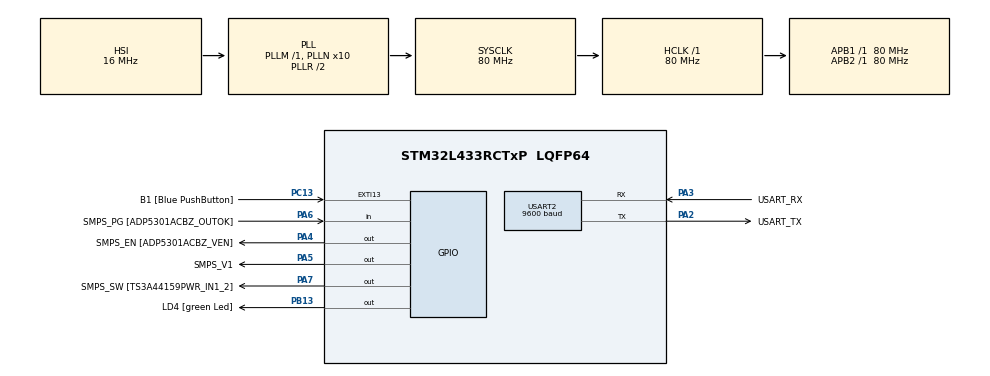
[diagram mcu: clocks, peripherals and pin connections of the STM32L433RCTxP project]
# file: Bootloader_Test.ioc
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Mcu.Family=STM32L4
Mcu.Name=STM32L433RCTxP
Mcu.Package=LQFP64
NVIC.PriorityGroup=NVIC_PRIORITYGROUP_4
PA13\ (JTMS-SWDIO).GPIO_Label=TMS
PA13\ (JTMS-SWDIO).Mode=Serial_Wire
PA13\ (JTMS-SWDIO).Signal=SYS_JTMS-SWDIO
PA14\ (JTCK-SWCLK).GPIO_Label=TCK
PA14\ (JTCK-SWCLK).Mode=Serial_Wire
PA14\ (JTCK-SWCLK).Signal=SYS_JTCK-SWCLK
PA2.GPIO_Label=USART_TX
PA2.GPIO_Mode=GPIO_MODE_AF_PP
PA2.GPIO_PuPd=GPIO_NOPULL
PA2.GPIO_Speed=GPIO_SPEED_FREQ_VERY_HIGH
PA2.Mode=Asynchronous
PA2.Signal=USART2_TX
PA3.GPIO_Label=USART_RX
PA3.GPIO_Mode=GPIO_MODE_AF_PP
PA3.GPIO_PuPd=GPIO_NOPULL
PA3.GPIO_Speed=GPIO_SPEED_FREQ_VERY_HIGH
PA3.Mode=Asynchronous
PA3.Signal=USART2_RX
PA4.GPIO_Label=SMPS_EN [ADP5301ACBZ_VEN]
PA4.Signal=GPIO_Output
PA5.GPIO_Label=SMPS_V1
PA5.GPIO_ModeDefaultOutputPP=GPIO_MODE_OUTPUT_PP
PA5.GPIO_PuPd=GPIO_NOPULL
PA5.GPIO_Speed=GPIO_SPEED_FREQ_LOW
PA5.Signal=GPIO_Output
PA6.GPIO_Label=SMPS_PG [ADP5301ACBZ_OUTOK]
PA6.GPIO_PuPd=GPIO_PULLUP
PA6.Signal=GPIO_Input
PA7.GPIO_Label=SMPS_SW [TS3A44159PWR_IN1_2]
PA7.Signal=GPIO_Output
PB13.GPIO_Label=LD4 [green Led]
PB13.Signal=GPIO_Output
PB3\ (JTDO-TRACESWO).GPIO_Label=SWO
PB3\ (JTDO-TRACESWO).Signal=SYS_JTDO-SWO
PC13.GPIO_Label=B1 [Blue PushButton]
PC13.GPIO_ModeDefaultEXTI=GPIO_MODE_IT_FALLING
PC13.GPIO_PuPd=GPIO_NOPULL
PC13.Signal=GPXTI13
PC14-OSC32_IN\ (PC14).Mode=LSE-External-Oscillator
PC14-OSC32_IN\ (PC14).Signal=RCC_OSC32_IN
PC15-OSC32_OUT\ (PC15).Mode=LSE-External-Oscillator
PC15-OSC32_OUT\ (PC15).Signal=RCC_OSC32_OUT
PH0-OSC_IN\ (PH0).GPIO_Label=MCO
PH0-OSC_IN\ (PH0).Mode=HSE-External-Clock-Source
PH0-OSC_IN\ (PH0).Signal=RCC_OSC_IN
PH1-OSC_OUT\ (PH1).Signal=RCC_OSC_OUT
ProjectManager.HeapSize=0x200
ProjectManager.StackSize=0x400
ProjectManager.TargetToolchain=STM32CubeIDE
RCC.ADCFreq_Value=64000000
RCC.AHBFreq_Value=80000000
RCC.APB1Freq_Value=80000000
RCC.APB1TimFreq_Value=80000000
RCC.APB2Freq_Value=80000000
RCC.APB2TimFreq_Value=80000000
RCC.CortexFreq_Value=80000000
RCC.HCLKFreq_Value=80000000
RCC.HSE_VALUE=8000000
RCC.HSI48_VALUE=48000000
RCC.HSI_VALUE=16000000
RCC.MSI_VALUE=4000000
RCC.PLLN=10
RCC.PLLSourceVirtual=RCC_PLLSOURCE_HSI
RCC.PREFETCH_ENABLE=1
RCC.SYSCLKFreq_VALUE=80000000
RCC.SYSCLKSource=RCC_SYSCLKSOURCE_PLLCLK
RCC.USBFreq_Value=64000000
RCC.VCOOutputFreq_Value=160000000
USART2.BaudRate=9600
USART2.VirtualMode-Asynchronous=VM_ASYNC
board=NUCLEO-L433RC-P

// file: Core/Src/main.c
/* USER CODE BEGIN Header */
/**
  ******************************************************************************
  * @file           : main.c
  * @brief          : Main program body
  ******************************************************************************
  * @attention
  *
  * Copyright (c) 2025 STMicroelectronics.
  * All rights reserved.
  *
  * This software is licensed under terms that can be found in the LICENSE file
  * in the root directory of this software component.
  * If no LICENSE file comes with this software, it is provided AS-IS.
  *
  ******************************************************************************
  */
/* USER CODE END Header */
#include "main.h"

/* USER CODE BEGIN Includes */
#include <stdio.h>

/* USER CODE END Includes */

/* USER CODE BEGIN PM */
#define MAJOR 0
#define MINOR 1

/* USER CODE END PM */

UART_HandleTypeDef huart2;

/* USER CODE BEGIN PV */
const uint8_t BL_version[2] = {MAJOR, MINOR};

/* USER CODE END PV */

void SystemClock_Config(void);
static void MX_GPIO_Init(void);
static void MX_USART2_UART_Init(void);
/* USER CODE BEGIN PFP */
static void goto_application(void);
/* USER CODE END PFP */

int main(void)
{

  /* MCU Configuration--------------------------------------------------------*/

  /* Reset of all peripherals, Initializes the Flash interface and the Systick. */
  HAL_Init();

  /* Configure the system clock */
  SystemClock_Config();

  /* Initialize all configured peripherals */
  MX_GPIO_Init();
  MX_USART2_UART_Init();
  /* USER CODE BEGIN 2 */
  printf("Starting Bootloader (%d.%d)\n", BL_version[0], BL_version[1]);
  HAL_GPIO_WritePin(GPIOB, GPIO_PIN_13, GPIO_PIN_SET);
  printf("After LED Toggle (%d.%d)\n", BL_version[0], BL_version[1]);
  HAL_Delay(5000);
  HAL_GPIO_WritePin(GPIOB, GPIO_PIN_13, GPIO_PIN_RESET);
  printf("After delay (%d.%d)\n", BL_version[0], BL_version[1]);
  HAL_Delay(1000);

  goto_application();
  /* USER CODE END 2 */

  /* Infinite loop */
  while (1)
  {

  }
}

void SystemClock_Config(void)
{
  RCC_OscInitTypeDef RCC_OscInitStruct = {0};
  RCC_ClkInitTypeDef RCC_ClkInitStruct = {0};

  /** Configure the main internal regulator output voltage
  */
  if (HAL_PWREx_ControlVoltageScaling(PWR_REGULATOR_VOLTAGE_SCALE1) != HAL_OK)
  {
    Error_Handler();
  }

  /** Initializes the RCC Oscillators according to the specified parameters
  * in the RCC_OscInitTypeDef structure.
  */
  RCC_OscInitStruct.OscillatorType = RCC_OSCILLATORTYPE_HSI;
  RCC_OscInitStruct.HSIState = RCC_HSI_ON;
  RCC_OscInitStruct.HSICalibrationValue = RCC_HSICALIBRATION_DEFAULT;
  RCC_OscInitStruct.PLL.PLLState = RCC_PLL_ON;
  RCC_OscInitStruct.PLL.PLLSource = RCC_PLLSOURCE_HSI;
  RCC_OscInitStruct.PLL.PLLM = 1;
  RCC_OscInitStruct.PLL.PLLN = 10;
  RCC_OscInitStruct.PLL.PLLP = RCC_PLLP_DIV7;
  RCC_OscInitStruct.PLL.PLLQ = RCC_PLLQ_DIV2;
  RCC_OscInitStruct.PLL.PLLR = RCC_PLLR_DIV2;
  if (HAL_RCC_OscConfig(&RCC_OscInitStruct) != HAL_OK)
  {
    Error_Handler();
  }

  /** Initializes the CPU, AHB and APB buses clocks
  */
  RCC_ClkInitStruct.ClockType = RCC_CLOCKTYPE_HCLK|RCC_CLOCKTYPE_SYSCLK
                              |RCC_CLOCKTYPE_PCLK1|RCC_CLOCKTYPE_PCLK2;
  RCC_ClkInitStruct.SYSCLKSource = RCC_SYSCLKSOURCE_PLLCLK;
  RCC_ClkInitStruct.AHBCLKDivider = RCC_SYSCLK_DIV1;
  RCC_ClkInitStruct.APB1CLKDivider = RCC_HCLK_DIV1;
  RCC_ClkInitStruct.APB2CLKDivider = RCC_HCLK_DIV1;

  if (HAL_RCC_ClockConfig(&RCC_ClkInitStruct, FLASH_LATENCY_4) != HAL_OK)
  {
    Error_Handler();
  }
}

static void MX_USART2_UART_Init(void)
{

  huart2.Instance = USART2;
  huart2.Init.BaudRate = 9600;
  huart2.Init.WordLength = UART_WORDLENGTH_8B;
  huart2.Init.StopBits = UART_STOPBITS_1;
  huart2.Init.Parity = UART_PARITY_NONE;
  huart2.Init.Mode = UART_MODE_TX_RX;
  huart2.Init.HwFlowCtl = UART_HWCONTROL_NONE;
  huart2.Init.OverSampling = UART_OVERSAMPLING_16;
  huart2.Init.OneBitSampling = UART_ONE_BIT_SAMPLE_DISABLE;
  huart2.AdvancedInit.AdvFeatureInit = UART_ADVFEATURE_NO_INIT;
  if (HAL_UART_Init(&huart2) != HAL_OK)
  {
    Error_Handler();
  }

}

static void MX_GPIO_Init(void)
{
  GPIO_InitTypeDef GPIO_InitStruct = {0};

  /* GPIO Ports Clock Enable */
  __HAL_RCC_GPIOC_CLK_ENABLE();
  __HAL_RCC_GPIOH_CLK_ENABLE();
  __HAL_RCC_GPIOA_CLK_ENABLE();
  __HAL_RCC_GPIOB_CLK_ENABLE();

  /*Configure GPIO pin Output Level */
  HAL_GPIO_WritePin(GPIOA, SMPS_EN_Pin|SMPS_V1_Pin|SMPS_SW_Pin, GPIO_PIN_RESET);

  /*Configure GPIO pin Output Level */
  HAL_GPIO_WritePin(LD4_GPIO_Port, LD4_Pin, GPIO_PIN_RESET);

  /*Configure GPIO pin : B1_Pin */
  GPIO_InitStruct.Pin = B1_Pin;
  GPIO_InitStruct.Mode = GPIO_MODE_IT_FALLING;
  GPIO_InitStruct.Pull = GPIO_NOPULL;
  HAL_GPIO_Init(B1_GPIO_Port, &GPIO_InitStruct);

  /*Configure GPIO pins : SMPS_EN_Pin SMPS_V1_Pin SMPS_SW_Pin */
  GPIO_InitStruct.Pin = SMPS_EN_Pin|SMPS_V1_Pin|SMPS_SW_Pin;
  GPIO_InitStruct.Mode = GPIO_MODE_OUTPUT_PP;
  GPIO_InitStruct.Pull = GPIO_NOPULL;
  GPIO_InitStruct.Speed = GPIO_SPEED_FREQ_LOW;
  HAL_GPIO_Init(GPIOA, &GPIO_InitStruct);

  /*Configure GPIO pin : SMPS_PG_Pin */
  GPIO_InitStruct.Pin = SMPS_PG_Pin;
  GPIO_InitStruct.Mode = GPIO_MODE_INPUT;
  GPIO_InitStruct.Pull = GPIO_PULLUP;
  HAL_GPIO_Init(SMPS_PG_GPIO_Port, &GPIO_InitStruct);

  /*Configure GPIO pin : LD4_Pin */
  GPIO_InitStruct.Pin = LD4_Pin;
  GPIO_InitStruct.Mode = GPIO_MODE_OUTPUT_PP;
  GPIO_InitStruct.Pull = GPIO_NOPULL;
  GPIO_InitStruct.Speed = GPIO_SPEED_FREQ_LOW;
  HAL_GPIO_Init(LD4_GPIO_Port, &GPIO_InitStruct);

}

/* USER CODE BEGIN 4 */

#ifdef __GNUC__
int __io_putchar(int ch)
#else
int fputc(int ch, FILE *f)
#endif
{
	HAL_UART_Transmit(&huart2, (uint8_t*)&ch, 1, HAL_MAX_DELAY);

	return ch;
}

static void goto_application(void){
//	void(*app_reset_handler) (void) = (void*) (*(volatile uint32_t*) (0x08020000 + 4));
	void (*app_reset_handler)(void) = (void (*)(void))(*(volatile uint32_t*)(0x08020000 + 4));
	HAL_GPIO_WritePin(GPIOB, GPIO_PIN_13, GPIO_PIN_SET);

//	uint32_t appStack = *(volatile uint32_t*) (0x08010000);
//	__set_MSP(appStack);
	/* Reset the Clock */
	  HAL_RCC_DeInit();
	  HAL_DeInit();
	  __set_MSP(*(volatile uint32_t*) 0x08020000);
	  SysTick->CTRL = 0;
	  SysTick->LOAD = 0;
	  SysTick->VAL = 0;

	app_reset_handler();
}

/* USER CODE END 4 */

void Error_Handler(void)
{
  __disable_irq();
  while (1)
  {
  }
}
